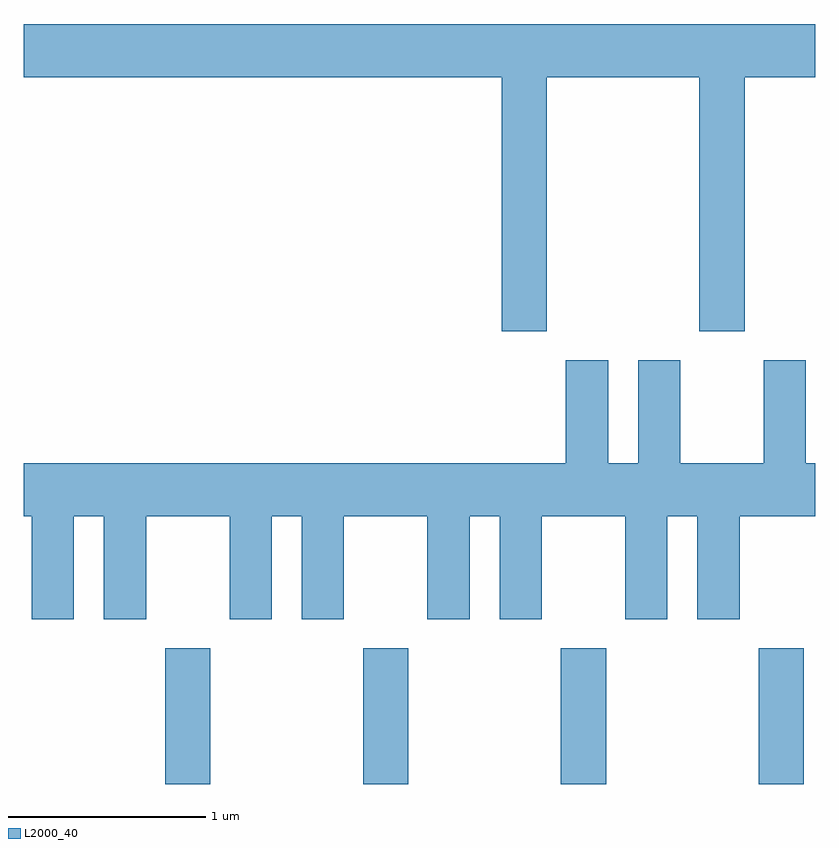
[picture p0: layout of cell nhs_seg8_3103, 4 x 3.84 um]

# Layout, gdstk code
import gdstk
lib = gdstk.Library(unit=1e-6, precision=1e-09)
def R(c, l, rs):  # rectangles x0, y0, x1, y1
    for r in rs: c.add(gdstk.rectangle(r[:2], r[2:], *l))
def A(c, l, x, y, w, h, nx, ny, dx, dy):  # array of equal rectangles
    R(c, l, [(x+i*dx, y+j*dy, x+i*dx+w, y+j*dy+h) for i in range(nx) for j in range(ny)])
def P(c, l, *ps):  # polygons
    for p in ps: c.add(gdstk.Polygon(p, *l))
L2000_40 = (2000, 40)

nhs_seg8_3103 = lib.new_cell('nhs_seg8_3103')
A(nhs_seg8_3103, L2000_40, 278.326, 1888.342, 0.228, 0.687, 4, 1, 1, 0)
P(nhs_seg8_3103, L2000_40, [(280.254,1891.916),(281.026,1891.916),(281.026,1890.631),(281.254,1890.631),(281.254,1891.916),(281.611,1891.916),(281.611,1892.184),(277.611,1892.184),(277.611,1891.916),(280.026,1891.916),(280.026,1890.631),(280.254,1890.631)],
  [(277.864,1889.696),(278.016,1889.696),(278.016,1889.176),(278.229,1889.176),(278.229,1889.696),(278.651,1889.696),(278.651,1889.176),(278.864,1889.176),(278.864,1889.696),(279.016,1889.696),(279.016,1889.176),(279.229,1889.176),(279.229,1889.696),(279.651,1889.696),(279.651,1889.176),(279.864,1889.176),(279.864,1889.696),(280.016,1889.696),(280.016,1889.176),(280.229,1889.176),(280.229,1889.696),(280.651,1889.696),(280.651,1889.176),(280.864,1889.176),(280.864,1889.696),(281.016,1889.696),(281.016,1889.176),(281.229,1889.176),(281.229,1889.696),(281.611,1889.696),(281.611,1889.964),(281.564,1889.964),(281.564,1890.484),(281.351,1890.484),(281.351,1889.964),(280.929,1889.964),(280.929,1890.484),(280.716,1890.484),(280.716,1889.964),(280.564,1889.964),(280.564,1890.484),(280.351,1890.484),(280.351,1889.964),(277.611,1889.964),(277.611,1889.696),(277.651,1889.696),(277.651,1889.176),(277.864,1889.176)])

lib.write_gds('nhs_seg8_3103.gds')
